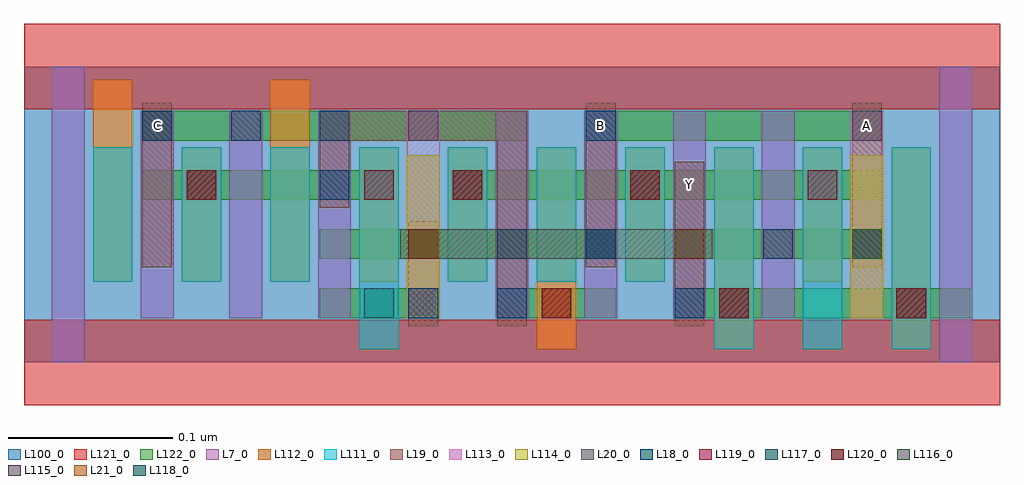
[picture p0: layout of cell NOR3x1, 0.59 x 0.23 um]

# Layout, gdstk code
import gdstk
lib = gdstk.Library(unit=1e-6, precision=2.5e-10)
def R(c, l, rs):  # rectangles x0, y0, x1, y1
    for r in rs: c.add(gdstk.rectangle(r[:2], r[2:], *l))
def A(c, l, x, y, w, h, nx, ny, dx, dy):  # array of equal rectangles
    R(c, l, [(x+i*dx, y+j*dy, x+i*dx+w, y+j*dy+h) for i in range(nx) for j in range(ny)])
def P(c, l, *ps):  # polygons
    for p in ps: c.add(gdstk.Polygon(p, *l))
L7_0 = (7, 0)
L18_0 = (18, 0)
L19_0 = (19, 0)
L20_0 = (20, 0)
L21_0 = (21, 0)
L100_0 = (100, 0)
L111_0 = (111, 0)
L112_0 = (112, 0)
L113_0 = (113, 0)
L114_0 = (114, 0)
L115_0 = (115, 0)
L116_0 = (116, 0)
L117_0 = (117, 0)
L118_0 = (118, 0)
L119_0 = (119, 0)
L120_0 = (120, 0)
L121_0 = (121, 0)
L122_0 = (122, 0)

nor3x1 = lib.new_cell('NOR3x1')
A(nor3x1, L7_0, 0.071, 0.027, 0.02, 0.126, 3, 1, 0.054, 0)
A(nor3x1, L7_0, 0.287, 0.027, 0.02, 0.126, 4, 1, 0.054, 0)
R(nor3x1, L7_0, [(0.017,0,0.037,0.18), (0.557,0,0.577,0.18)])
R(nor3x1, L18_0, [(0.234,0.027,0.252,0.045), (0.288,0.027,0.306,0.045), (0.396,0.027,0.414,0.045), (0.342,0.063,0.36,0.081), (0.504,0.063,0.522,0.081), (0.18,0.099,0.198,0.117), (0.072,0.135,0.09,0.153), (0.342,0.135,0.36,0.153)])
R(nor3x1, L19_0, [(0.234,0.022,0.252,0.086), (0.396,0.022,0.414,0.122), (0.072,0.058,0.09,0.158), (0.342,0.058,0.36,0.158), (0.504,0.058,0.522,0.158)])
P(nor3x1, L19_0, [(0.18,0.153),(0.306,0.153),(0.306,0.022),(0.288,0.022),(0.288,0.135),(0.198,0.135),(0.198,0.094),(0.18,0.094)])
R(nor3x1, L20_0, [(0.229,0.063,0.419,0.081)])
R(nor3x1, L21_0, [(0.234,0.063,0.252,0.081), (0.396,0.063,0.414,0.081)])
R(nor3x1, L100_0, [(0,0,0.594,0.18)])
A(nor3x1, L111_0, 0.42, 0.008, 0.024, 0.123, 3, 1, 0.054, 0)
A(nor3x1, L111_0, 0.042, 0.049, 0.024, 0.082, 3, 1, 0.054, 0)
A(nor3x1, L111_0, 0.258, 0.049, 0.024, 0.082, 3, 1, 0.054, 0)
R(nor3x1, L111_0, [(0.204,0.008,0.228,0.131)])
A(nor3x1, L112_0, 0.312, 0.008, 0.024, 0.123, 3, 1, 0.108, 0)
A(nor3x1, L112_0, 0.258, 0.049, 0.024, 0.082, 3, 1, 0.108, 0)
R(nor3x1, L112_0, [(0.042,0.049,0.066,0.172), (0.096,0.049,0.12,0.131), (0.15,0.049,0.174,0.172), (0.204,0.049,0.228,0.131)])
R(nor3x1, L113_0, [(0.233,0.027,0.253,0.153), (0.503,0.027,0.523,0.153)])
R(nor3x1, L114_0, [(0.233,0.027,0.253,0.126), (0.503,0.027,0.523,0.126)])
R(nor3x1, L115_0, [(0.234,0.135,0.252,0.153), (0.504,0.135,0.522,0.153)])
R(nor3x1, L116_0, [(0.234,0.063,0.252,0.081), (0.504,0.063,0.522,0.081)])
A(nor3x1, L117_0, 0.288, 0.063, 0.018, 0.018, 4, 1, 0.054, 0)
A(nor3x1, L117_0, 0.072, 0.135, 0.018, 0.018, 3, 1, 0.054, 0)
R(nor3x1, L118_0, [(0.207,0.027,0.225,0.045)])
A(nor3x1, L119_0, 0.315, 0.027, 0.018, 0.018, 3, 1, 0.108, 0)
A(nor3x1, L119_0, 0.261, 0.099, 0.018, 0.018, 3, 1, 0.108, 0)
R(nor3x1, L119_0, [(0.099,0.099,0.117,0.117), (0.207,0.099,0.225,0.117)])
A(nor3x1, L120_0, 0.315, 0.027, 0.018, 0.018, 3, 1, 0.108, 0)
R(nor3x1, L120_0, [(0.099,0.099,0.117,0.117), (0.261,0.099,0.279,0.117), (0.369,0.099,0.387,0.117)])
R(nor3x1, L121_0, [(0,-0.026,0.594,0.026), (0,0.154,0.594,0.206)])
R(nor3x1, L122_0, [(0.18,0.027,0.252,0.045), (0.288,0.027,0.36,0.045), (0.396,0.027,0.576,0.045), (0.18,0.063,0.36,0.081), (0.396,0.063,0.522,0.081), (0.072,0.099,0.225,0.117), (0.261,0.099,0.522,0.117), (0.072,0.135,0.306,0.153), (0.342,0.135,0.522,0.153)])
nor3x1.add(gdstk.Label('Y', (0.405,0.108), layer=19, texttype=251))
nor3x1.add(gdstk.Label('C', (0.081,0.144), layer=19, texttype=251))
nor3x1.add(gdstk.Label('B', (0.351,0.144), layer=19, texttype=251))
nor3x1.add(gdstk.Label('A', (0.513,0.144), layer=19, texttype=251))

lib.write_gds('NOR3x1.gds')
